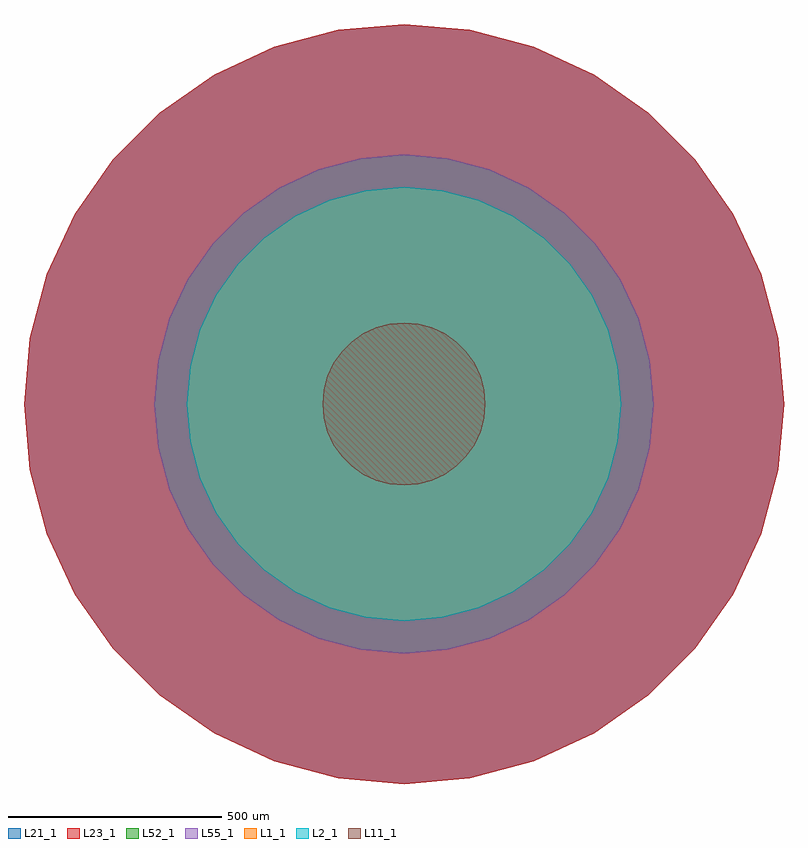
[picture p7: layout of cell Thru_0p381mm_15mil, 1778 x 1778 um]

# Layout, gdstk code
import gdstk
lib = gdstk.Library(unit=1e-6, precision=1e-09)
def P(c, l, *ps):  # polygons
    for p in ps: c.add(gdstk.Polygon(p, *l))
L1_1 = (1, 1)
L2_1 = (2, 1)
L11_1 = (11, 1)
L21_1 = (21, 1)
L23_1 = (23, 1)
L52_1 = (52, 1)
L55_1 = (55, 1)

thru_0p381mm_15mil = lib.new_cell('Thru_0p381mm_15mil')
P(thru_0p381mm_15mil, L1_1, [(508,0),(500.282,-88.213),(477.364,-173.746),(439.941,-254),(389.151,-326.536),(326.536,-389.151),(254,-439.941),(173.746,-477.364),(88.213,-500.282),(0,-508),(-88.213,-500.282),(-173.746,-477.364),(-254,-439.941),(-326.536,-389.151),(-389.151,-326.536),(-439.941,-254),(-477.364,-173.746),(-500.282,-88.213),(-508,0),(-500.282,88.213),(-477.364,173.746),(-439.941,254),(-389.151,326.536),(-326.536,389.151),(-254,439.941),(-173.746,477.364),(-88.213,500.282),(0,508),(88.213,500.282),(173.746,477.364),(254,439.941),(326.536,389.151),(389.151,326.536),(439.941,254),(477.364,173.746),(500.282,88.213)])
P(thru_0p381mm_15mil, L2_1, [(508,0),(500.282,-88.213),(477.364,-173.746),(439.941,-254),(389.151,-326.536),(326.536,-389.151),(254,-439.941),(173.746,-477.364),(88.213,-500.282),(0,-508),(-88.213,-500.282),(-173.746,-477.364),(-254,-439.941),(-326.536,-389.151),(-389.151,-326.536),(-439.941,-254),(-477.364,-173.746),(-500.282,-88.213),(-508,0),(-500.282,88.213),(-477.364,173.746),(-439.941,254),(-389.151,326.536),(-326.536,389.151),(-254,439.941),(-173.746,477.364),(-88.213,500.282),(0,508),(88.213,500.282),(173.746,477.364),(254,439.941),(326.536,389.151),(389.151,326.536),(439.941,254),(477.364,173.746),(500.282,88.213)])
P(thru_0p381mm_15mil, L11_1, [(190.5,0),(187.606,-33.08),(179.011,-65.155),(164.978,-95.25),(145.931,-122.451),(122.451,-145.931),(95.25,-164.978),(65.155,-179.011),(33.08,-187.606),(0,-190.5),(-33.08,-187.606),(-65.155,-179.011),(-95.25,-164.978),(-122.451,-145.931),(-145.931,-122.451),(-164.978,-95.25),(-179.011,-65.155),(-187.606,-33.08),(-190.5,0),(-187.606,33.08),(-179.011,65.155),(-164.978,95.25),(-145.931,122.451),(-122.451,145.931),(-95.25,164.978),(-65.155,179.011),(-33.08,187.606),(0,190.5),(33.08,187.606),(65.155,179.011),(95.25,164.978),(122.451,145.931),(145.931,122.451),(164.978,95.25),(179.011,65.155),(187.606,33.08)])
P(thru_0p381mm_15mil, L21_1, [(889,0),(875.494,-154.373),(835.387,-304.056),(769.897,-444.5),(681.014,-571.438),(571.438,-681.014),(444.5,-769.897),(304.056,-835.387),(154.373,-875.494),(0,-889),(-154.373,-875.494),(-304.056,-835.387),(-444.5,-769.897),(-571.438,-681.014),(-681.014,-571.438),(-769.897,-444.5),(-835.387,-304.056),(-875.494,-154.373),(-889,0),(-875.494,154.373),(-835.387,304.056),(-769.897,444.5),(-681.014,571.438),(-571.438,681.014),(-444.5,769.897),(-304.056,835.387),(-154.373,875.494),(0,889),(154.373,875.494),(304.056,835.387),(444.5,769.897),(571.438,681.014),(681.014,571.438),(769.897,444.5),(835.387,304.056),(875.494,154.373)])
P(thru_0p381mm_15mil, L23_1, [(889,0),(875.494,-154.373),(835.387,-304.056),(769.897,-444.5),(681.014,-571.438),(571.438,-681.014),(444.5,-769.897),(304.056,-835.387),(154.373,-875.494),(0,-889),(-154.373,-875.494),(-304.056,-835.387),(-444.5,-769.897),(-571.438,-681.014),(-681.014,-571.438),(-769.897,-444.5),(-835.387,-304.056),(-875.494,-154.373),(-889,0),(-875.494,154.373),(-835.387,304.056),(-769.897,444.5),(-681.014,571.438),(-571.438,681.014),(-444.5,769.897),(-304.056,835.387),(-154.373,875.494),(0,889),(154.373,875.494),(304.056,835.387),(444.5,769.897),(571.438,681.014),(681.014,571.438),(769.897,444.5),(835.387,304.056),(875.494,154.373)])
P(thru_0p381mm_15mil, L52_1, [(584,0),(575.128,-101.411),(548.78,-199.74),(505.759,-292),(447.37,-375.388),(375.388,-447.37),(292,-505.759),(199.74,-548.78),(101.411,-575.128),(0,-584),(-101.411,-575.128),(-199.74,-548.78),(-292,-505.759),(-375.388,-447.37),(-447.37,-375.388),(-505.759,-292),(-548.78,-199.74),(-575.128,-101.411),(-584,0),(-575.128,101.411),(-548.78,199.74),(-505.759,292),(-447.37,375.388),(-375.388,447.37),(-292,505.759),(-199.74,548.78),(-101.411,575.128),(0,584),(101.411,575.128),(199.74,548.78),(292,505.759),(375.388,447.37),(447.37,375.388),(505.759,292),(548.78,199.74),(575.128,101.411)])
P(thru_0p381mm_15mil, L55_1, [(584,0),(575.128,-101.411),(548.78,-199.74),(505.759,-292),(447.37,-375.388),(375.388,-447.37),(292,-505.759),(199.74,-548.78),(101.411,-575.128),(0,-584),(-101.411,-575.128),(-199.74,-548.78),(-292,-505.759),(-375.388,-447.37),(-447.37,-375.388),(-505.759,-292),(-548.78,-199.74),(-575.128,-101.411),(-584,0),(-575.128,101.411),(-548.78,199.74),(-505.759,292),(-447.37,375.388),(-375.388,447.37),(-292,505.759),(-199.74,548.78),(-101.411,575.128),(0,584),(101.411,575.128),(199.74,548.78),(292,505.759),(375.388,447.37),(447.37,375.388),(505.759,292),(548.78,199.74),(575.128,101.411)])
thru_0p381mm_15mil.add(gdstk.FlexPath([(0,-50),(0,50)], 0, ends="round", simple_path=True, layer=1, datatype=1))  # L1_1
thru_0p381mm_15mil.add(gdstk.FlexPath([(50,0),(-50,0)], 0, ends="round", simple_path=True, layer=1, datatype=1))  # L1_1
thru_0p381mm_15mil.add(gdstk.FlexPath([(0,-50),(0,50)], 0, ends="round", simple_path=True, layer=1, datatype=1))  # L1_1
thru_0p381mm_15mil.add(gdstk.FlexPath([(-50,0),(50,0)], 0, ends="round", simple_path=True, layer=1, datatype=1))  # L1_1
thru_0p381mm_15mil.add(gdstk.FlexPath([(0,50),(0,-50)], 0, ends="round", simple_path=True, layer=1, datatype=1))  # L1_1
thru_0p381mm_15mil.add(gdstk.FlexPath([(50,0),(-50,0)], 0, ends="round", simple_path=True, layer=1, datatype=1))  # L1_1
thru_0p381mm_15mil.add(gdstk.FlexPath([(0,50),(0,-50)], 0, ends="round", simple_path=True, layer=1, datatype=1))  # L1_1
thru_0p381mm_15mil.add(gdstk.FlexPath([(-50,0),(50,0)], 0, ends="round", simple_path=True, layer=1, datatype=1))  # L1_1

lib.write_gds('Thru_0p381mm_15mil.gds')
